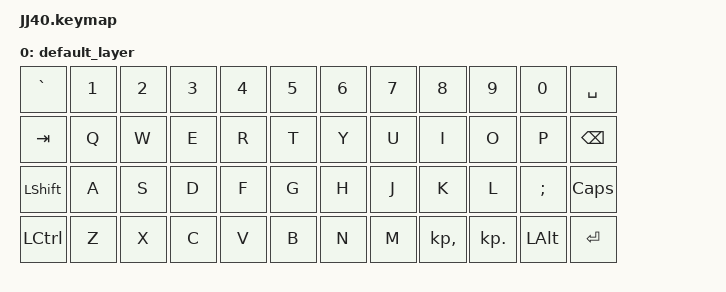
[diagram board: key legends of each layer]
#include <behaviors.dtsi>
#include <dt-bindings/zmk/bt.h>
#include <dt-bindings/zmk/keys.h>
#include <dt-bindings/zmk/keys.h>
#include <dt-bindings/zmk/mouse.h>

/ {

    keymap {
        compatible = "zmk,keymap";

        default_layer {
            bindings = <
                &kp GRAVE &kp N1  &kp N2  &kp N3  &kp N4  &kp N5  &kp N6  &kp N7  &kp N8       &kp N9     &kp N0    &kp SPACE
                &kp TAB   &kp Q   &kp W   &kp E   &kp R   &kp T   &kp Y   &kp U   &kp I        &kp O      &kp P     &kp BACKSPACE
                &kp LSHFT &kp A   &kp S   &kp D   &kp F   &kp G   &kp H   &kp J   &kp K        &kp L      &kp SEMI  &kp CAPSLOCK
                &kp LCTRL &kp Z   &kp X   &kp C   &kp V   &kp B   &kp N   &kp M   &kp KP_COMMA &kp KP_DOT &kp LALT   &kp ENTER
            >;
        };

    };
};
